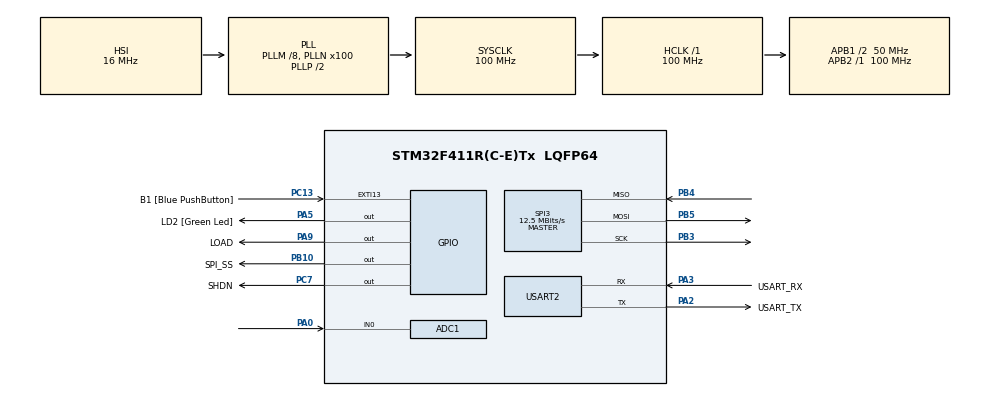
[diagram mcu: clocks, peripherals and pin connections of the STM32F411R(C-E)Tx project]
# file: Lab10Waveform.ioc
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ADC1.Channel-0\#ChannelRegularConversion=ADC_CHANNEL_0
ADC1.DMAContinuousRequests=ENABLE
ADC1.ExternalTrigConv=ADC_EXTERNALTRIGCONV_T3_TRGO
ADC1.NbrOfConversionFlag=1
ADC1.Rank-0\#ChannelRegularConversion=1
ADC1.SamplingTime-0\#ChannelRegularConversion=ADC_SAMPLETIME_3CYCLES
ADC1.ScanConvMode=ENABLE
ADC1.master=1
Dma.ADC1.0.Direction=DMA_PERIPH_TO_MEMORY
Dma.ADC1.0.FIFOMode=DMA_FIFOMODE_DISABLE
Dma.ADC1.0.Instance=DMA2_Stream0
Dma.ADC1.0.MemDataAlignment=DMA_MDATAALIGN_HALFWORD
Dma.ADC1.0.MemInc=DMA_MINC_ENABLE
Dma.ADC1.0.Mode=DMA_CIRCULAR
Dma.ADC1.0.PeriphDataAlignment=DMA_PDATAALIGN_HALFWORD
Dma.ADC1.0.PeriphInc=DMA_PINC_DISABLE
Dma.ADC1.0.Priority=DMA_PRIORITY_LOW
Dma.Request0=ADC1
Mcu.Family=STM32F4
Mcu.Name=STM32F411R(C-E)Tx
Mcu.Package=LQFP64
NVIC.DMA2_Stream0_IRQn=true\:0\:0\:false\:false\:true\:false\:true
NVIC.PriorityGroup=NVIC_PRIORITYGROUP_0
NVIC.SPI3_IRQn=true\:0\:0\:false\:false\:true\:true\:true
NVIC.USART2_IRQn=true\:0\:0\:false\:false\:true\:true\:true
PA0-WKUP.Signal=ADCx_IN0
PA13.GPIO_Label=TMS
PA13.Mode=Serial_Wire
PA13.Signal=SYS_JTMS-SWDIO
PA14.GPIO_Label=TCK
PA14.Mode=Serial_Wire
PA14.Signal=SYS_JTCK-SWCLK
PA2.GPIO_Label=USART_TX
PA2.Mode=Asynchronous
PA2.Signal=USART2_TX
PA3.GPIO_Label=USART_RX
PA3.Mode=Asynchronous
PA3.Signal=USART2_RX
PA5.GPIO_Label=LD2 [Green Led]
PA5.Signal=GPIO_Output
PA9.GPIO_Label=LOAD
PA9.PinState=GPIO_PIN_SET
PA9.Signal=GPIO_Output
PB10.GPIO_Label=SPI_SS
PB10.PinState=GPIO_PIN_SET
PB10.Signal=GPIO_Output
PB3.Mode=Full_Duplex_Master
PB3.Signal=SPI3_SCK
PB4.Mode=Full_Duplex_Master
PB4.Signal=SPI3_MISO
PB5.Mode=Full_Duplex_Master
PB5.Signal=SPI3_MOSI
PC13-ANTI_TAMP.GPIO_Label=B1 [Blue PushButton]
PC13-ANTI_TAMP.GPIO_ModeDefaultEXTI=GPIO_MODE_IT_FALLING
PC13-ANTI_TAMP.Signal=GPXTI13
PC14-OSC32_IN.Mode=LSE-External-Oscillator
PC14-OSC32_IN.Signal=RCC_OSC32_IN
PC15-OSC32_OUT.Mode=LSE-External-Oscillator
PC15-OSC32_OUT.Signal=RCC_OSC32_OUT
PC7.GPIO_Label=SHDN
PC7.PinState=GPIO_PIN_SET
PC7.Signal=GPIO_Output
PH0\ -\ OSC_IN.Mode=HSE-External-Clock-Source
PH0\ -\ OSC_IN.Signal=RCC_OSC_IN
PH1\ -\ OSC_OUT.Mode=HSE-External-Clock-Source
PH1\ -\ OSC_OUT.Signal=RCC_OSC_OUT
ProjectManager.HeapSize=0x200
ProjectManager.StackSize=0x400
ProjectManager.TargetToolchain=STM32CubeIDE
RCC.48MHZClocksFreq_Value=50000000
RCC.AHBFreq_Value=100000000
RCC.APB1CLKDivider=RCC_HCLK_DIV2
RCC.APB1Freq_Value=50000000
RCC.APB1TimFreq_Value=100000000
RCC.APB2Freq_Value=100000000
RCC.APB2TimFreq_Value=100000000
RCC.CortexFreq_Value=100000000
RCC.FLatency-AdvancedSettings=FLASH_LATENCY_3
RCC.HCLKFreq_Value=100000000
RCC.HSE_VALUE=8000000
RCC.HSI_VALUE=16000000
RCC.PLLM=8
RCC.PLLN=100
RCC.SYSCLKFreq_VALUE=100000000
RCC.SYSCLKSource=RCC_SYSCLKSOURCE_PLLCLK
RCC.VCOOutputFreq_Value=200000000
SH.ADCx_IN0.0=ADC1_IN0,IN0
SPI3.BaudRatePrescaler=SPI_BAUDRATEPRESCALER_4
SPI3.CalculateBaudRate=12.5 MBits/s
SPI3.DataSize=SPI_DATASIZE_16BIT
SPI3.Direction=SPI_DIRECTION_2LINES
SPI3.Mode=SPI_MODE_MASTER
SPI3.VirtualType=VM_MASTER
TIM11.Prescaler=99
TIM3.Period=100
TIM3.Prescaler=99
TIM3.TIM_MasterOutputTrigger=TIM_TRGO_UPDATE
USART2.VirtualMode=VM_ASYNC
VP_TIM11_VS_ClockSourceINT.Mode=Enable_Timer
VP_TIM3_VS_ClockSourceINT.Mode=Internal
board=NUCLEO-F411RE

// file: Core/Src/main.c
/* USER CODE BEGIN Header */
/**
 ******************************************************************************
 * @file           : main.c
 * @brief          : Main program body
 ******************************************************************************
 * @attention
 *
 * <h2><center>&copy; Copyright (c) 2021 STMicroelectronics.
 * All rights reserved.</center></h2>
 *
 * This software component is licensed by ST under BSD 3-Clause license,
 * the "License"; You may not use this file except in compliance with the
 * License. You may obtain a copy of the License at:
 *                        opensource.org/licenses/BSD-3-Clause
 *
 ******************************************************************************
 */
/* USER CODE END Header */
#include "main.h"

/* USER CODE BEGIN Includes */
#include <math.h>
#include <stdio.h>
#include <string.h>
/* USER CODE END Includes */

ADC_HandleTypeDef hadc1;
DMA_HandleTypeDef hdma_adc1;

SPI_HandleTypeDef hspi3;

TIM_HandleTypeDef htim3;
TIM_HandleTypeDef htim11;

UART_HandleTypeDef huart2;

/* USER CODE BEGIN PV */
uint16_t ADCin = 0;
uint64_t _micro = 0;
uint16_t dataOut = 0;

uint8_t DACConfig = 0b0011;

float Freq = 0.3 ;			// Default 0.3 Hz
float Time = 0.0 ;

float L_Volt = 0.0 ;
float H_Volt = 1.0 ;

uint8_t Slope = 1;
int duty = 30;
float amp = 0.0;
float rad = 0.0;
float offset = 0.0;

uint8_t Mode = 1;			// 1 = Saw
							// 2 = Sin
							// 3 = Squ

int16_t inputchar = 0;

enum	//Menu state
{
	printMenu_Saw = 10,
	Saw_WaitInput = 20,
	printMenu_Sin = 30,
	Sin_WaitInput = 40,
	printMenu_Squ = 50,
	Squ_WaitInput = 60,
};

char TxDataBuffer[32] =
{ 0 };
char RxDataBuffer[32] =
{ 0 };
char fq[32] =
{ 0 };
char Volt[64] =
{ 0 };
char Duty[64] =
{ 0 };

uint8_t state = 10;

/* USER CODE END PV */

void SystemClock_Config(void);
static void MX_GPIO_Init(void);
static void MX_DMA_Init(void);
static void MX_USART2_UART_Init(void);
static void MX_ADC1_Init(void);
static void MX_SPI3_Init(void);
static void MX_TIM3_Init(void);
static void MX_TIM11_Init(void);
/* USER CODE BEGIN PFP */
void MCP4922SetOutput(uint8_t Config, uint16_t DACOutput);
uint64_t micros();

int16_t UARTRecieveIT();

void Print_Menu_Saw();
void Print_Menu_Sin();
void Print_Menu_Squ();

void Print_fq();
void Print_Error();
void Print_Slope();
void Print_Duty();
void Print_Volt();

/* USER CODE END PFP */

int main(void)
{

  /* MCU Configuration--------------------------------------------------------*/

  /* Reset of all peripherals, Initializes the Flash interface and the Systick. */
  HAL_Init();

  /* Configure the system clock */
  SystemClock_Config();

  /* Initialize all configured peripherals */
  MX_GPIO_Init();
  MX_DMA_Init();
  MX_USART2_UART_Init();
  MX_ADC1_Init();
  MX_SPI3_Init();
  MX_TIM3_Init();
  MX_TIM11_Init();
  /* USER CODE BEGIN 2 */
	HAL_TIM_Base_Start(&htim3);
	HAL_TIM_Base_Start_IT(&htim11);
	HAL_ADC_Start_DMA(&hadc1, (uint32_t*) &ADCin, 1);

	HAL_GPIO_WritePin(LOAD_GPIO_Port, LOAD_Pin, GPIO_PIN_RESET);
  /* USER CODE END 2 */

  /* Infinite loop */
  /* USER CODE BEGIN WHILE */
	while (1)
	{
		HAL_UART_Receive_IT(&huart2,  (uint8_t*)RxDataBuffer, 32);

		inputchar = UARTRecieveIT();		//Focus on this character
		if(inputchar!=-1)
		{
			sprintf(TxDataBuffer, "\r\nYou press:[%c]\r\n\r\n", inputchar);
			HAL_UART_Transmit(&huart2, (uint8_t*)TxDataBuffer, strlen(TxDataBuffer), 1000);
		}

		static uint64_t timestamp = 0;
		if (micros() - timestamp >= 1000)
		{
			timestamp = micros();
			Time = Time + 0.01;

			if (Mode == 1)
			{
				float Period = 1/Freq;

				if ((Slope == 1) && (Time <= (Period)))
				{
					dataOut = (((H_Volt*(4096.0/3.3))-( L_Volt*(4096.0/3.3)))/(Period))*Time
							+ (L_Volt *(4096.0/3.3));	//offset
				}

				else if ((Slope == 0) && (Time <= (1/Freq)))
				{
					dataOut = (((L_Volt*(4096.0/3.3))-( H_Volt*(4096.0/3.3)))/(Period))*Time
							+ (H_Volt *(4096.0/3.3));	//offset
				}

				else
				{
					Time = 0.0;
				}
			}

			else if (Mode == 2)
			{
				rad = rad + 0.01;
				amp =((H_Volt*(4096.0/3.3))-(L_Volt*(4096.0/3.3)))/2;
				offset =((H_Volt*(4096.0/3.3))+(L_Volt*(4096.0/3.3)))/2;
				dataOut = (amp)*sin(2*M_PI*Freq*rad)+( offset);
			}

			else if (Mode == 3)
			{

				float PeriodSub = duty/(Freq*100.0);
				float Period = 1/Freq;

				if(Time <= PeriodSub)
				{
					dataOut = H_Volt*(4096.0/3.3);
				}
				else if ((Time > PeriodSub) && (Time <= (Period)))
				{
					dataOut = L_Volt*(4096.0/3.3);
				}
				else
				{
					Time = 0.0;
				}
			}

			if (hspi3.State == HAL_SPI_STATE_READY
					&& HAL_GPIO_ReadPin(SPI_SS_GPIO_Port, SPI_SS_Pin)
							== GPIO_PIN_SET)
			{
				MCP4922SetOutput(DACConfig, dataOut);
			}
		}

		///////////////////////////State
		switch (state)
		{
		case printMenu_Saw:
			Mode = 1;
			Print_fq();
			Print_Volt();
			Print_Slope();
			Print_Menu_Saw();
			state = Saw_WaitInput;
			break;
		case Saw_WaitInput:
			switch (inputchar)
			{
				//Un press
				case -1 :
					break;

				//Mode
				case 'i':
					state = printMenu_Sin;
					break;
				case 'q':
					state = printMenu_Squ;
					break;

				//Freq
				case 's':
					if (Freq == 10) {Freq = 10;}
					else {Freq = Freq + 0.1 ;}
					state = printMenu_Saw;
					break;
				case 'f':
					if (Freq == 0) {Freq = 0;}
					else {Freq = Freq - 0.1 ;}
					state = printMenu_Saw;
					break;

				//Low Volt
				case 'x':
					if (L_Volt == 3.3) {L_Volt = 3.3;}
					else {L_Volt = L_Volt + 0.1 ;}
					state = printMenu_Saw;
					break;
				case 'v':
					if (L_Volt == 0) {L_Volt = 0;}
					else {L_Volt = L_Volt - 0.1 ;}
					state = printMenu_Saw;
					break;

				//High Volt
				case 'w':
					if (H_Volt == 3.3) {H_Volt = 3.3;}
					else {H_Volt = H_Volt + 0.1 ;}
					state = printMenu_Saw;
					break;
				case 'r':
					if (H_Volt == 0) {H_Volt = 0;}
					else {H_Volt = H_Volt - 0.1 ;}
					state = printMenu_Saw;
					break;

				//Specific
				case 'u':
					if (Slope == 1) {Slope = 0;}
					else {Slope = 1;}
					state = printMenu_Saw;
					break;

				//Error
				default:
					Print_Error();
					state = printMenu_Saw;
					break;
			}
			break;

		case printMenu_Sin:
			Mode = 2;
			Print_fq();
			Print_Volt();
			Print_Menu_Sin();
			state = Sin_WaitInput;
			break;
		case Sin_WaitInput:
			switch (inputchar)
			{
				//Un press
				case -1 :
					break;

				//Mode
				case 'a':
					state = printMenu_Saw;
					break;
				case 'q':
					state = printMenu_Squ;
					break;

				//Freq
				case 's':
					if (Freq == 10) {Freq = 10;}
					else {Freq = Freq + 0.1 ;}
					state = printMenu_Sin;
					break;
				case 'f':
					if (Freq == 0) {Freq = 0;}
					else {Freq = Freq - 0.1 ;}
					state = printMenu_Sin;
					break;

				//Low Volt
				case 'x':
					if (L_Volt == 3.3) {L_Volt = 3.3;}
					else {L_Volt = L_Volt + 0.1 ;}
					state = printMenu_Sin;
					break;
				case 'v':
					if (L_Volt == 0) {L_Volt = 0;}
					else {L_Volt = L_Volt - 0.1 ;}
					state = printMenu_Sin;
					break;

				//High Volt
				case 'w':
					if (H_Volt == 3.3) {H_Volt = 3.3;}
					else {H_Volt = H_Volt + 0.1 ;}
					state = printMenu_Sin;
					break;
				case 'r':
					if (H_Volt == 0) {H_Volt = 0;}
					else {H_Volt = H_Volt - 0.1 ;}
					state = printMenu_Sin;
					break;

				//Specific
				//case '':
					//break;

				//Error
				default:
					Print_Error();
					state = printMenu_Sin;
					break;
			}
			break;

		case printMenu_Squ:
			Mode = 3;
			Print_fq();
			Print_Volt();
			Print_Duty();
			Print_Menu_Squ();
			state = Squ_WaitInput;
			break;
		case Squ_WaitInput:
			switch (inputchar)
			{
				//Un press
				case -1 :
					break;

				//Mode
				case 'a':
					state = printMenu_Saw;
					break;
				case 'i':
					state = printMenu_Sin;
					break;

				//Freq
				case 's':
					if (Freq == 10) {Freq = 10;}
					else {Freq = Freq + 0.1 ;}
					state = printMenu_Squ;
					break;
				case 'f':
					if (Freq == 0) {Freq = 0;}
					else {Freq = Freq - 0.1 ;}
					state = printMenu_Squ;
					break;

				//Low Volt
				case 'x':
					if (L_Volt == 3.3) {L_Volt = 3.3;}
					else {L_Volt = L_Volt + 0.1 ;}
					state = printMenu_Squ;
					break;
				case 'v':
					if (L_Volt == 0) {L_Volt = 0;}
					else {L_Volt = L_Volt - 0.1 ;}
					state = printMenu_Squ;
					break;

				//High Volt
				case 'w':
					if (H_Volt == 3.3) {H_Volt = 3.3;}
					else {H_Volt = H_Volt + 0.1 ;}
					state = printMenu_Squ;
					break;
				case 'r':
					if (H_Volt == 0) {H_Volt = 0;}
					else {H_Volt = H_Volt - 0.1 ;}
					state = printMenu_Squ;
					break;

				//Specific
				case 'j':
					if (duty == 100) {duty = 100;}
					else {duty = duty + 10 ;}
					state = printMenu_Squ;
					break;
				case 'l':
					if (duty == 0) {duty = 0;}
					else {duty = duty - 10 ;}
					state = printMenu_Squ;
					break;

				//Error
				default:
					Print_Error();
					state = printMenu_Squ;
					break;
			}
			break;
		}

    /* USER CODE END WHILE */

	}
}

void SystemClock_Config(void)
{
  RCC_OscInitTypeDef RCC_OscInitStruct = {0};
  RCC_ClkInitTypeDef RCC_ClkInitStruct = {0};

  /** Configure the main internal regulator output voltage
  */
  __HAL_RCC_PWR_CLK_ENABLE();
  __HAL_PWR_VOLTAGESCALING_CONFIG(PWR_REGULATOR_VOLTAGE_SCALE1);
  /** Initializes the RCC Oscillators according to the specified parameters
  * in the RCC_OscInitTypeDef structure.
  */
  RCC_OscInitStruct.OscillatorType = RCC_OSCILLATORTYPE_HSI;
  RCC_OscInitStruct.HSIState = RCC_HSI_ON;
  RCC_OscInitStruct.HSICalibrationValue = RCC_HSICALIBRATION_DEFAULT;
  RCC_OscInitStruct.PLL.PLLState = RCC_PLL_ON;
  RCC_OscInitStruct.PLL.PLLSource = RCC_PLLSOURCE_HSI;
  RCC_OscInitStruct.PLL.PLLM = 8;
  RCC_OscInitStruct.PLL.PLLN = 100;
  RCC_OscInitStruct.PLL.PLLP = RCC_PLLP_DIV2;
  RCC_OscInitStruct.PLL.PLLQ = 4;
  if (HAL_RCC_OscConfig(&RCC_OscInitStruct) != HAL_OK)
  {
    Error_Handler();
  }
  /** Initializes the CPU, AHB and APB buses clocks
  */
  RCC_ClkInitStruct.ClockType = RCC_CLOCKTYPE_HCLK|RCC_CLOCKTYPE_SYSCLK
                              |RCC_CLOCKTYPE_PCLK1|RCC_CLOCKTYPE_PCLK2;
  RCC_ClkInitStruct.SYSCLKSource = RCC_SYSCLKSOURCE_PLLCLK;
  RCC_ClkInitStruct.AHBCLKDivider = RCC_SYSCLK_DIV1;
  RCC_ClkInitStruct.APB1CLKDivider = RCC_HCLK_DIV2;
  RCC_ClkInitStruct.APB2CLKDivider = RCC_HCLK_DIV1;

  if (HAL_RCC_ClockConfig(&RCC_ClkInitStruct, FLASH_LATENCY_3) != HAL_OK)
  {
    Error_Handler();
  }
}

static void MX_ADC1_Init(void)
{

  ADC_ChannelConfTypeDef sConfig = {0};

  /** Configure the global features of the ADC (Clock, Resolution, Data Alignment and number of conversion)
  */
  hadc1.Instance = ADC1;
  hadc1.Init.ClockPrescaler = ADC_CLOCK_SYNC_PCLK_DIV4;
  hadc1.Init.Resolution = ADC_RESOLUTION_12B;
  hadc1.Init.ScanConvMode = ENABLE;
  hadc1.Init.ContinuousConvMode = DISABLE;
  hadc1.Init.DiscontinuousConvMode = DISABLE;
  hadc1.Init.ExternalTrigConvEdge = ADC_EXTERNALTRIGCONVEDGE_RISING;
  hadc1.Init.ExternalTrigConv = ADC_EXTERNALTRIGCONV_T3_TRGO;
  hadc1.Init.DataAlign = ADC_DATAALIGN_RIGHT;
  hadc1.Init.NbrOfConversion = 1;
  hadc1.Init.DMAContinuousRequests = ENABLE;
  hadc1.Init.EOCSelection = ADC_EOC_SINGLE_CONV;
  if (HAL_ADC_Init(&hadc1) != HAL_OK)
  {
    Error_Handler();
  }
  /** Configure for the selected ADC regular channel its corresponding rank in the sequencer and its sample time.
  */
  sConfig.Channel = ADC_CHANNEL_0;
  sConfig.Rank = 1;
  sConfig.SamplingTime = ADC_SAMPLETIME_3CYCLES;
  if (HAL_ADC_ConfigChannel(&hadc1, &sConfig) != HAL_OK)
  {
    Error_Handler();
  }

}

static void MX_SPI3_Init(void)
{

  /* SPI3 parameter configuration*/
  hspi3.Instance = SPI3;
  hspi3.Init.Mode = SPI_MODE_MASTER;
  hspi3.Init.Direction = SPI_DIRECTION_2LINES;
  hspi3.Init.DataSize = SPI_DATASIZE_16BIT;
  hspi3.Init.CLKPolarity = SPI_POLARITY_LOW;
  hspi3.Init.CLKPhase = SPI_PHASE_1EDGE;
  hspi3.Init.NSS = SPI_NSS_SOFT;
  hspi3.Init.BaudRatePrescaler = SPI_BAUDRATEPRESCALER_4;
  hspi3.Init.FirstBit = SPI_FIRSTBIT_MSB;
  hspi3.Init.TIMode = SPI_TIMODE_DISABLE;
  hspi3.Init.CRCCalculation = SPI_CRCCALCULATION_DISABLE;
  hspi3.Init.CRCPolynomial = 10;
  if (HAL_SPI_Init(&hspi3) != HAL_OK)
  {
    Error_Handler();
  }

}

static void MX_TIM3_Init(void)
{

  TIM_ClockConfigTypeDef sClockSourceConfig = {0};
  TIM_MasterConfigTypeDef sMasterConfig = {0};

  htim3.Instance = TIM3;
  htim3.Init.Prescaler = 99;
  htim3.Init.CounterMode = TIM_COUNTERMODE_UP;
  htim3.Init.Period = 100;
  htim3.Init.ClockDivision = TIM_CLOCKDIVISION_DIV1;
  htim3.Init.AutoReloadPreload = TIM_AUTORELOAD_PRELOAD_DISABLE;
  if (HAL_TIM_Base_Init(&htim3) != HAL_OK)
  {
    Error_Handler();
  }
  sClockSourceConfig.ClockSource = TIM_CLOCKSOURCE_INTERNAL;
  if (HAL_TIM_ConfigClockSource(&htim3, &sClockSourceConfig) != HAL_OK)
  {
    Error_Handler();
  }
  sMasterConfig.MasterOutputTrigger = TIM_TRGO_UPDATE;
  sMasterConfig.MasterSlaveMode = TIM_MASTERSLAVEMODE_DISABLE;
  if (HAL_TIMEx_MasterConfigSynchronization(&htim3, &sMasterConfig) != HAL_OK)
  {
    Error_Handler();
  }

}

static void MX_TIM11_Init(void)
{

  htim11.Instance = TIM11;
  htim11.Init.Prescaler = 99;
  htim11.Init.CounterMode = TIM_COUNTERMODE_UP;
  htim11.Init.Period = 65535;
  htim11.Init.ClockDivision = TIM_CLOCKDIVISION_DIV1;
  htim11.Init.AutoReloadPreload = TIM_AUTORELOAD_PRELOAD_DISABLE;
  if (HAL_TIM_Base_Init(&htim11) != HAL_OK)
  {
    Error_Handler();
  }

}

static void MX_USART2_UART_Init(void)
{

  huart2.Instance = USART2;
  huart2.Init.BaudRate = 115200;
  huart2.Init.WordLength = UART_WORDLENGTH_8B;
  huart2.Init.StopBits = UART_STOPBITS_1;
  huart2.Init.Parity = UART_PARITY_NONE;
  huart2.Init.Mode = UART_MODE_TX_RX;
  huart2.Init.HwFlowCtl = UART_HWCONTROL_NONE;
  huart2.Init.OverSampling = UART_OVERSAMPLING_16;
  if (HAL_UART_Init(&huart2) != HAL_OK)
  {
    Error_Handler();
  }

}

static void MX_DMA_Init(void)
{

  /* DMA controller clock enable */
  __HAL_RCC_DMA2_CLK_ENABLE();

  /* DMA interrupt init */
  /* DMA2_Stream0_IRQn interrupt configuration */
  HAL_NVIC_SetPriority(DMA2_Stream0_IRQn, 0, 0);
  HAL_NVIC_EnableIRQ(DMA2_Stream0_IRQn);

}

static void MX_GPIO_Init(void)
{
  GPIO_InitTypeDef GPIO_InitStruct = {0};

  /* GPIO Ports Clock Enable */
  __HAL_RCC_GPIOC_CLK_ENABLE();
  __HAL_RCC_GPIOH_CLK_ENABLE();
  __HAL_RCC_GPIOA_CLK_ENABLE();
  __HAL_RCC_GPIOB_CLK_ENABLE();

  /*Configure GPIO pin Output Level */
  HAL_GPIO_WritePin(LD2_GPIO_Port, LD2_Pin, GPIO_PIN_RESET);

  /*Configure GPIO pin Output Level */
  HAL_GPIO_WritePin(SPI_SS_GPIO_Port, SPI_SS_Pin, GPIO_PIN_SET);

  /*Configure GPIO pin Output Level */
  HAL_GPIO_WritePin(SHDN_GPIO_Port, SHDN_Pin, GPIO_PIN_SET);

  /*Configure GPIO pin Output Level */
  HAL_GPIO_WritePin(LOAD_GPIO_Port, LOAD_Pin, GPIO_PIN_SET);

  /*Configure GPIO pin : B1_Pin */
  GPIO_InitStruct.Pin = B1_Pin;
  GPIO_InitStruct.Mode = GPIO_MODE_IT_FALLING;
  GPIO_InitStruct.Pull = GPIO_NOPULL;
  HAL_GPIO_Init(B1_GPIO_Port, &GPIO_InitStruct);

  /*Configure GPIO pins : LD2_Pin LOAD_Pin */
  GPIO_InitStruct.Pin = LD2_Pin|LOAD_Pin;
  GPIO_InitStruct.Mode = GPIO_MODE_OUTPUT_PP;
  GPIO_InitStruct.Pull = GPIO_NOPULL;
  GPIO_InitStruct.Speed = GPIO_SPEED_FREQ_LOW;
  HAL_GPIO_Init(GPIOA, &GPIO_InitStruct);

  /*Configure GPIO pin : SPI_SS_Pin */
  GPIO_InitStruct.Pin = SPI_SS_Pin;
  GPIO_InitStruct.Mode = GPIO_MODE_OUTPUT_PP;
  GPIO_InitStruct.Pull = GPIO_NOPULL;
  GPIO_InitStruct.Speed = GPIO_SPEED_FREQ_LOW;
  HAL_GPIO_Init(SPI_SS_GPIO_Port, &GPIO_InitStruct);

  /*Configure GPIO pin : SHDN_Pin */
  GPIO_InitStruct.Pin = SHDN_Pin;
  GPIO_InitStruct.Mode = GPIO_MODE_OUTPUT_PP;
  GPIO_InitStruct.Pull = GPIO_NOPULL;
  GPIO_InitStruct.Speed = GPIO_SPEED_FREQ_LOW;
  HAL_GPIO_Init(SHDN_GPIO_Port, &GPIO_InitStruct);

}

/* USER CODE BEGIN 4 */
void MCP4922SetOutput(uint8_t Config, uint16_t DACOutput)
{
	uint32_t OutputPacket = (DACOutput & 0x0fff) | ((Config & 0xf) << 12);
	HAL_GPIO_WritePin(SPI_SS_GPIO_Port, SPI_SS_Pin, GPIO_PIN_RESET);
	HAL_SPI_Transmit_IT(&hspi3, &OutputPacket, 1);
}

void HAL_SPI_TxCpltCallback(SPI_HandleTypeDef *hspi)
{
	if (hspi == &hspi3)
	{
		HAL_GPIO_WritePin(SPI_SS_GPIO_Port, SPI_SS_Pin, GPIO_PIN_SET);
	}
}

void HAL_TIM_PeriodElapsedCallback(TIM_HandleTypeDef *htim)
{
	if (htim == &htim11)
	{
		_micro += 65535;
	}
}

inline uint64_t micros()
{
	return htim11.Instance->CNT + _micro;
}

int16_t UARTRecieveIT()
{
	static uint32_t dataPos =0;
	int16_t data = -1 ;
	if(huart2.RxXferSize - huart2.RxXferCount!=dataPos)
	{
		data=RxDataBuffer[dataPos];
		dataPos= (dataPos+1)%huart2.RxXferSize;
	}
	return data;
}

void HAL_UART_RxCpltCallback(UART_HandleTypeDef *huart)
{
	//sprintf(TxDataBuffer, "Received:[%s]\r\n", RxDataBuffer);
	HAL_UART_Transmit(&huart2, (uint8_t*)TxDataBuffer, strlen(TxDataBuffer), 1000);
}

//////////////////////////////////////////Print

void Print_Menu_Saw()
{
	  char Menu[]="\r\n  ---Sawtooth Wave Menu---  \r\n\r\n"

			  "Mode\r\n"
			  "__press [i] for go to Sine Wave Menu\r\n"
			  "__press [q] for go to Square Wave Menu\r\n\r\n"

			  "Parameter_Freq (0-10Hz)\r\n"
			  "__press [s] for Freq + 0.1Hz\r\n"
			  "__press [f] for Freq - 0.1Hz\r\n\r\n"

			  "Parameter_Low Volt (0-3.3V)\r\n"
			  "__press [x] for Low Volt + 0.1V\r\n"
			  "__press [v] for Low Volt - 0.1V\r\n\r\n"

			  "Parameter_High Volt (0-3.3V)\r\n"
			  "__press [w] for High Volt + 0.1V\r\n"
			  "__press [r] for High Volt - 0.1V\r\n\r\n"

			  "Parameter_specific\r\n"
			  "__press [u] for slopeUp/slopeDown\r\n"

			  "\r\n-----------------------------\r\n";
	  HAL_UART_Transmit(&huart2, (uint8_t*)Menu, strlen(Menu),100);
}

void Print_Menu_Sin()
{
	  char Menu[]="\r\n  ---Sine Wave Menu---  \r\n\r\n"

			  "Mode\r\n"
			  "__press [a] for go to Sawtooth Wave Menu\r\n"
			  "__press [q] for go to Square Wave Menu\r\n\r\n"

			  "Parameter_Freq (0-10Hz)\r\n"
			  "__press [s] for Freq + 0.1Hz\r\n"
			  "__press [f] for Freq - 0.1Hz\r\n\r\n"

			  "Parameter_Low Volt (0-3.3V)\r\n"
			  "__press [x] for Low Volt + 0.1V\r\n"
			  "__press [v] for Low Volt - 0.1V\r\n\r\n"

			  "Parameter_High Volt (0-3.3V)\r\n"
			  "__press [w] for High Volt + 0.1V\r\n"
			  "__press [r] for High Volt - 0.1V\r\n"

			  "\r\n-----------------------------\r\n";
	  HAL_UART_Transmit(&huart2, (uint8_t*)Menu, strlen(Menu),100);
}

void Print_Menu_Squ()
{
	  char Menu[]="\r\n  ---Square Wave Menu---  \r\n\r\n"

			  "Mode\r\n"
			  "__press [a] for go to Sawtooth Wave Menu\r\n"
			  "__press [i] for go to Sine Wave Menu\r\n\r\n"

			  "Parameter_Freq (0-10Hz)\r\n"
			  "__press [s] for Freq + 0.1Hz\r\n"
			  "__press [f] for Freq - 0.1Hz\r\n\r\n"

			  "Parameter_Low Volt (0-3.3V)\r\n"
			  "__press [x] for Low Volt + 0.1V\r\n"
			  "__press [v] for Low Volt - 0.1V\r\n\r\n"

			  "Parameter_High Volt (0-3.3V)\r\n"
			  "__press [w] for High Volt + 0.1V\r\n"
			  "__press [r] for High Volt - 0.1V\r\n\r\n"

			  "Parameter_specific (0-100%)\r\n"
			  "__press [j] for duty cycle + 10%\r\n"
			  "__press [l] for duty cycle - 10%\r\n"

			  "\r\n-----------------------------\r\n";
	  HAL_UART_Transmit(&huart2, (uint8_t*)Menu, strlen(Menu),100);
}

void Print_fq()
{
//	  Period = (1.0/Freq)*1000.0 ;		//millisecond
//	  Half_Period = Period/2.0 ;

      //char fq[]= ("frequency of LED is: %d \r\n", Freq);
	  sprintf(fq, "frequency of LED is: %.1f \r\n", Freq);
	  HAL_UART_Transmit(&huart2, (uint8_t*)fq, strlen(fq),100);

}

void Print_Error()
{
	  char Eror[]="Error : Out of choice\r\n";
	  HAL_UART_Transmit(&huart2, (uint8_t*)Eror, strlen(Eror),100);
}

void Print_Slope()
{
	if (Slope == 1)
	{
		char D[]="Slope Up\r\n";
		HAL_UART_Transmit(&huart2, (uint8_t*)D, strlen(D),100);
	}
	else
	{
		char D[]="Slope Down\r\n";
		HAL_UART_Transmit(&huart2, (uint8_t*)D, strlen(D),100);
	}

}

void Print_Duty()
{
	  sprintf(Duty, "Duty cycle is: %d% \r\n",duty);
	  HAL_UART_Transmit(&huart2, (uint8_t*)Duty, strlen(Duty),100);
}

void Print_Volt()
{
	  sprintf(Volt, "Low Volt is: %.1f \r\n"
			  	  	"High Volt is: %.1f \r\n", L_Volt,H_Volt);
	  HAL_UART_Transmit(&huart2, (uint8_t*)Volt, strlen(Volt),100);
}

/* USER CODE END 4 */

void Error_Handler(void)
{
	__disable_irq();
	while (1)
	{
	}
}

/************************ (C) COPYRIGHT STMicroelectronics *****END OF FILE****/
